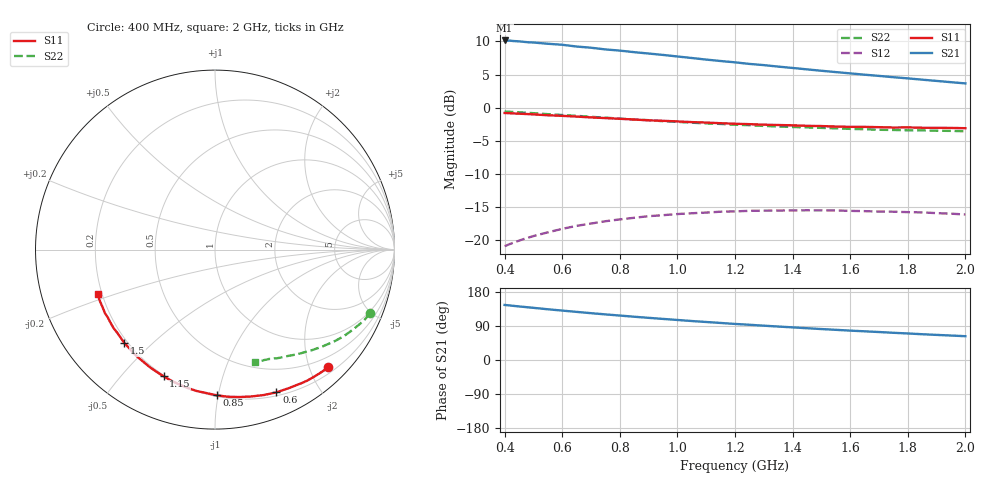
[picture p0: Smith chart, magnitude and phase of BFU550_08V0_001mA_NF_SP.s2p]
! Filename:  P:\Prog\Test\Noise\ATS_data\Testdata_Net\06 Compressed Noise after Statistics\BFU550_APG2013_43_D05_08p0V_001mA_NF_CM01_D.sf
! Date/Time: Fri 26/Apr/2013 13:07:22
! BFU550_APG2013_43_D05_08p0V_1to35mA_NF_CM01_Bias1_R.sf
! Noise Parameter Data File
! BFU550_APG2013_43_D05_08p0V_1to35mA_NF_CM01
! Date/time: Thu Apr 25 17:34:01 2013
! freq range =  0.4000 to  2.0000 GHz, 37 points
! bias range =  1.0050 to 35.0000 mA, 8 points
! bias supplies used: 1 1 0 0 0 0
! VAR bias_mode= 1  ! Specify V_out, I_out
! VAR bias_var = 1  ! Bias variable = I_out
! VAR V_out= 8.000000
! VAR I_out= 1.005000
! VAR V_in= 0.775700
! VAR I_in= 0.010301
! Device data file deembeded for feedlines and parallel
! Original file: \06 Compressed Noise after Statistics\BFU550_APG2013_43_D05_08p0V_001mA_NF_CM01_R.sf
! Feed-files: PR047V01_250413_Feed1.s2p, PR047V01_250413_Feed2.s2p
! Parallel-file: PR047V01_250413_Par.s2p
# MHz S MA R 50
!  Freq-MHz  S11-mag  S11-arg  S21-mag  S21-arg  S12-mag  S12-arg  S22-mag  S22-arg
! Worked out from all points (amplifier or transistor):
!   37 points, 400 MHz to 2 GHz, reference 50 ohm
!   highest |S21| = 10.1 dB at 400 MHz (marker M1)
!   |S21| within 3 dB of that: start of sweep to 1.125 GHz
!   unconditionally stable (mu >= 1): nowhere
!   at 500 MHz: K = 0.14, MSG = 14.6 dB, |S12| = -19.4 dB
!   at 1.1 GHz: K = 0.28, MSG = 11.6 dB, |S12| = -15.9 dB
!   at 2 GHz: K = 0.54, MSG = 9.9 dB, |S12| = -16.2 dB
!   lowest NFmin = 0.41 dB at 1.8 GHz
!   S11 on the Smith chart (normalised r, x): 400 MHz: 0.30, -2.32; 600 MHz: 0.23, -1.49; 850 MHz: 0.21, -0.99; 1.15 GHz: 0.19, -0.66; 1.5 GHz: 0.19, -0.41; 2 GHz: 0.18, -0.18
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400  0.9104 -46.0  3.217 145.3  0.08958 60.9  0.9341 -22.4
420  0.9058 -48.2  3.203 143.7  0.09329 59.6  0.9287 -23.4
440  0.9015 -50.4  3.178 142.1  0.09686 58.3  0.9241 -24.4
480  0.8934 -54.5  3.119 139.1  0.1035 55.8  0.9128 -26.2
500  0.8882 -56.6  3.104 137.7  0.1068 54.6  0.9073 -27.2
550  0.8748 -61.8  3.038 133.9  0.114 51.5  0.892 -29.5
600  0.8659 -66.7  2.985 130.4  0.1211 48.7  0.8787 -31.6
650  0.8549 -71.4  2.894 127.0  0.1276 46.0  0.8661 -33.6
700  0.8428 -76.2  2.835 123.6  0.1328 43.2  0.8518 -35.7
750  0.8326 -80.6  2.753 120.4  0.1383 40.8  0.8392 -37.5
800  0.8227 -85.0  2.696 117.3  0.1427 38.4  0.8251 -39.3
850  0.812 -89.3  2.624 114.2  0.1469 36.0  0.8131 -40.9
950  0.7943 -97.4  2.501 108.4  0.1536 31.6  0.789 -44.4
1050  0.7765 -105.0  2.37 102.8  0.1589 27.5  0.7685 -47.4
1150  0.7619 -112.1  2.249 97.8  0.1633 23.8  0.7521 -50.0
1200  0.7545 -115.7  2.198 95.2  0.1641 21.9  0.7417 -51.6
1350  0.7381 -125.2  2.041 88.3  0.1666 17.1  0.7192 -55.5
1500  0.7249 -134.3  1.899 81.7  0.1671 12.6  0.7022 -59.1
1600  0.7148 -139.9  1.814 77.5  0.1656 9.8  0.6899 -61.6
1750  0.7066 -147.7  1.697 71.8  0.1632 6.3  0.6774 -64.9
1850  0.7038 -152.6  1.626 68.0  0.1612 4.1  0.6725 -67.0
2000  0.6986 -159.5  1.523 62.8  0.1554 1.3  0.662 -70.4
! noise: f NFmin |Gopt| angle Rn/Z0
400  0.5183  0.6939  29.81  0.3193
460  0.5532  0.6444  38.99  0.312
600  0.5753  0.6394  46  0.2963
800  0.675  0.6353  60.96  0.2952
1000  0.7749  0.6425  75.38  0.2657
1200  0.893  0.6251  88.09  0.2483
1400  0.9136  0.6186  103.1  0.1881
1600  0.827  0.602  117.1  0.1424
1800  0.4144  0.5639  135  0.0711
2000  1.204  0.6775  139  0.1039
